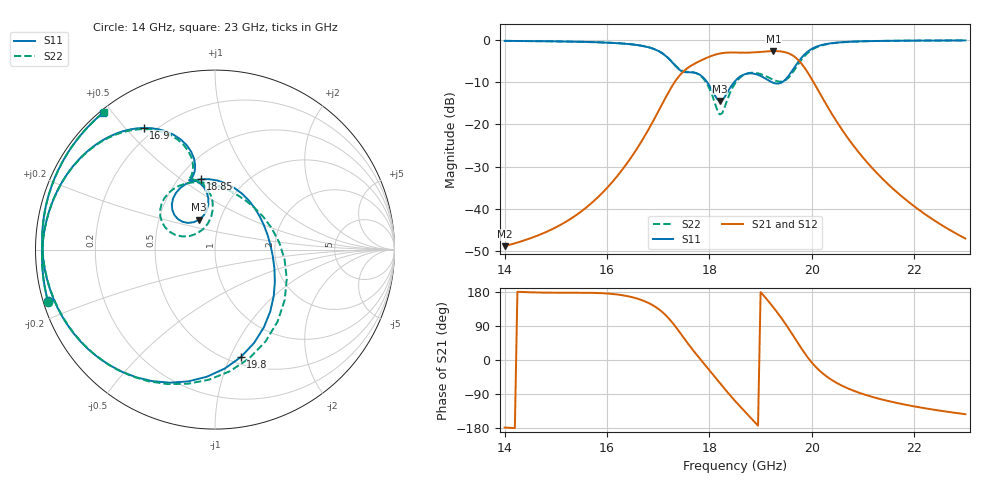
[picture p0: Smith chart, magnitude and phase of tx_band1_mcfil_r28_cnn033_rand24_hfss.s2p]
! Touchstone file exported from HFSS 3D Layout Design 2026.1.0
!  File:  D:/Work/SIM/ADS_AUTO_SIM/projects/RFSOC_RF/TX_Fillter.aedt
!  Generated:  02:19:10 AM Aug 31, 2026
!  Design:  TX_BAND1_MCFIL_R28_CNN033
!  Project:  TX_Fillter
# GHz S MA R 50.000000
! Terminal data exported
! Port[1] = Port1
! Port[2] = Port2
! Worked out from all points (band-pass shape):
!   181 points, 14 GHz to 23 GHz, reference 50 ohm
!   highest |S21| = -2.65 dB at 19.25 GHz (marker M1); lowest = -48.8 dB at 14 GHz (marker M2)
!   |S21| within 3 dB of the highest: 17.71 GHz to 19.8 GHz (2.094 GHz wide, 11.2 % of centre)
!   lowest |S11| = -14.5 dB at 18.2 GHz (marker M3), VSWR 1.47, Z = 39.8 + j13.7 ohm
!   |S11| at or under -10 dB: 17.96 GHz to 18.48 GHz (529.6 MHz wide, 2.91 % of centre); 19.22 GHz to 19.42 GHz (200.9 MHz wide, 1.04 % of centre)
!   |S22| runs from -17.6 to -0.1 dB; largest |S21 - S12| = 1.3e-14
!   S11 on the Smith chart (normalised r, x): 14 GHz: 0.01, -0.15; 16.9 GHz: 0.16, +0.56; 18.85 GHz: 0.64, +0.59; 19.8 GHz: 0.57, -1.10; 23 GHz: 0.01, +0.48
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14  0.9738 -162.9  0.003618 -178.1  0.003618 -178.1  0.9739 -162.7
15.5  0.9489 167.2  0.009351 177.6  0.009351 177.6  0.9494 167.9
16.3  0.9061 145.3  0.02915 170.9  0.02915 170.9  0.9071 146.3
16.9  0.7863 120.4  0.109 144.0  0.109 144.0  0.7886 121.7
17  0.7403 115.1  0.1415 135.1  0.1415 135.1  0.7433 116.5
17.3  0.5203 103.0  0.3023 94.7  0.3023 94.7  0.5272 104.3
17.55  0.413 109.9  0.453 49.0  0.453 49.0  0.4196 109.9
17.9  0.3484 99.8  0.5959 -10.5  0.5959 -10.5  0.3373 96.9
18.2  0.1888 118.0  0.6892 -60.0  0.6892 -60.0  0.1312 121.2
18.35  0.2375 139.4  0.7071 -84.5  0.7071 -84.5  0.196 158.1
18.5  0.3249 137.0  0.7086 -107.8  0.7086 -107.8  0.3046 155.9
18.85  0.3998 101.6  0.7104 -158.7  0.7104 -158.7  0.4094 124.4
19.05  0.3608 72.9  0.7251 171.5  0.7251 171.5  0.3843 102.5
19.25  0.3103 36.5  0.7367 138.8  0.7367 138.8  0.3371 75.3
19.5  0.347 -17.5  0.709 92.5  0.709 92.5  0.3378 20.6
19.65  0.462 -48.2  0.6408 61.5  0.6408 61.5  0.4314 -22.0
19.8  0.6159 -76.5  0.5225 30.0  0.5225 30.0  0.5838 -61.1
20  0.7828 -108.7  0.3425 -6.6  0.3425 -6.6  0.7626 -101.4
20.25  0.8865 -137.4  0.1859 -39.3  0.1859 -39.3  0.8779 -134.5
20.55  0.9357 -160.0  0.09411 -65.1  0.09411 -65.1  0.9328 -159.1
21.5  0.9755 161.5  0.01934 -108.5  0.01934 -108.5  0.9755 161.1
23  0.9849 129.2  0.004456 -143.0  0.004456 -143.0  0.9848 129.0
